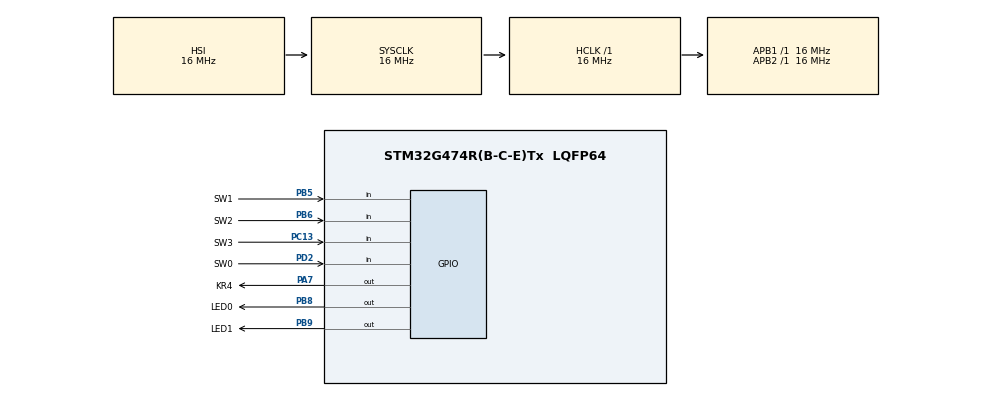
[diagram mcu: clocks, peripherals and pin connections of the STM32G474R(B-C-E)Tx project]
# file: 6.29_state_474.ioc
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Mcu.Family=STM32G4
Mcu.Name=STM32G474R(B-C-E)Tx
Mcu.Package=LQFP64
NVIC.PriorityGroup=NVIC_PRIORITYGROUP_4
PA7.GPIO_Label=KR4
PA7.Signal=GPIO_Output
PB5.GPIO_Label=SW1
PB5.Signal=GPIO_Input
PB6.GPIO_Label=SW2
PB6.Signal=GPIO_Input
PB8-BOOT0.GPIO_Label=LED0
PB8-BOOT0.Signal=GPIO_Output
PB9.GPIO_Label=LED1
PB9.Signal=GPIO_Output
PC13.GPIO_Label=SW3
PC13.Signal=GPIO_Input
PD2.GPIO_Label=SW0
PD2.GPIO_PuPd=GPIO_PULLDOWN
PD2.Signal=GPIO_Input
ProjectManager.HeapSize=0x200
ProjectManager.StackSize=0x400
ProjectManager.TargetToolchain=STM32CubeIDE
RCC.AHBFreq_Value=16000000
RCC.APB1Freq_Value=16000000
RCC.APB1TimFreq_Value=16000000
RCC.APB2Freq_Value=16000000
RCC.APB2TimFreq_Value=16000000
RCC.CortexFreq_Value=16000000
RCC.EXTERNAL_CLOCK_VALUE=12288000
RCC.HCLKFreq_Value=16000000
RCC.HSE_VALUE=8000000
RCC.HSI48_VALUE=48000000
RCC.HSI_VALUE=16000000
RCC.LSE_VALUE=32768
RCC.SYSCLKFreq_VALUE=16000000
RCC.USBFreq_Value=64000000
RCC.VCOOutputFreq_Value=128000000
board=custom

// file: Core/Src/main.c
/* USER CODE BEGIN Header */
/**
  ******************************************************************************
  * @file           : main.c
  * @brief          : Main program body
  ******************************************************************************
  * @attention
  *
  * Copyright (c) 2024 STMicroelectronics.
  * All rights reserved.
  *
  * This software is licensed under terms that can be found in the LICENSE file
  * in the root directory of this software component.
  * If no LICENSE file comes with this software, it is provided AS-IS.
  *
  ******************************************************************************
  */
/* USER CODE END Header */
#include "main.h"

void SystemClock_Config(void);
static void MX_GPIO_Init(void);

/* USER CODE BEGIN 0 */
void (*short_callback)();
void (*long_callback)();
void (*double_callback)();
void register_short_callback(void (*cb)){short_callback = cb;}
void register_long_callback(void (*cb)){long_callback = cb;}
void register_double_callback(void (*cb)){double_callback = cb;}

void set_LED1()
{
	HAL_GPIO_TogglePin(LED1_GPIO_Port, LED1_Pin);
}
void set_LED0()
{
	HAL_GPIO_TogglePin(LED0_GPIO_Port, LED0_Pin);
}
void set_LED()
{
	HAL_GPIO_TogglePin(LED0_GPIO_Port, LED0_Pin);
	HAL_GPIO_TogglePin(LED1_GPIO_Port, LED1_Pin);
}

void bottoncheck()
{
  static int prev_1 = 0;
  static int state_1 = 0;
  static int prev_2 = 0;
  static int state_2 = 0;
  static int flag = 0;
  static int long_counter = 0;
  static int double_counter = 0;

  int curr_1 = HAL_GPIO_ReadPin(SW1_GPIO_Port, SW1_Pin);
  int curr_2 = HAL_GPIO_ReadPin(SW2_GPIO_Port, SW2_Pin);

  switch (state_1)
  {
  case 0:
	  if(!prev_1 && curr_1)
	  {
		  state_1 = 1;
		  long_counter = 0;
	  }
	  break;

  case 1:
	  if(prev_1 && !curr_1)
	  {
		  state_1 = 0;
		  if(short_callback)
			short_callback();
	  }
	  long_counter ++;
	  if(long_counter == 1000)
	  {
		  state_1 = 0;
		  if(long_callback)
			  long_callback();
	  }
	  break;
  }
  prev_1 = curr_1;

  switch(state_2)
  {
  case 0:
	  if(!prev_2 && curr_2)
	  {
		  state_2 = 1;
	  }
	  if(flag == 1)
	  {
		  if(short_callback)
			  short_callback();
		  flag = 0;
	  }
	  if(flag == 2)
	  {
		  if(double_callback)
			  double_callback();
		  flag = 0;
	  }
	  break;

  case 1:
	  if(prev_2 && !curr_2)
	  {
		  if(flag == 2) state_2 = 0;
		  else state_2 = 2;
	  }
	  break;

  case 2:
	  if(!prev_2 && curr_2)
	  {
		  state_2 = 1;
		  flag = 2;
		  double_counter = 0;
	  }
	  if(double_counter > 600)
	  {
		  state_2 = 0;
		  flag = 1;
		  double_counter = 0;
	  }
	  double_counter ++;
      break;
  }
  prev_2 = curr_2;
}
/* USER CODE END 0 */

int main(void)
{

  /* MCU Configuration--------------------------------------------------------*/

  /* Reset of all peripherals, Initializes the Flash interface and the Systick. */
  HAL_Init();

  /* Configure the system clock */
  SystemClock_Config();

  /* Initialize all configured peripherals */
  MX_GPIO_Init();
  /* USER CODE BEGIN 2 */
  HAL_GPIO_WritePin(KR4_GPIO_Port,KR4_Pin,GPIO_PIN_SET);
  register_short_callback(set_LED0);
  register_long_callback(set_LED1);
  register_double_callback(set_LED);
  /* USER CODE END 2 */

  /* Infinite loop */
  while (1)
  {

  }
}

void SystemClock_Config(void)
{
  RCC_OscInitTypeDef RCC_OscInitStruct = {0};
  RCC_ClkInitTypeDef RCC_ClkInitStruct = {0};

  /** Configure the main internal regulator output voltage
  */
  HAL_PWREx_ControlVoltageScaling(PWR_REGULATOR_VOLTAGE_SCALE1);

  /** Initializes the RCC Oscillators according to the specified parameters
  * in the RCC_OscInitTypeDef structure.
  */
  RCC_OscInitStruct.OscillatorType = RCC_OSCILLATORTYPE_HSI;
  RCC_OscInitStruct.HSIState = RCC_HSI_ON;
  RCC_OscInitStruct.HSICalibrationValue = RCC_HSICALIBRATION_DEFAULT;
  RCC_OscInitStruct.PLL.PLLState = RCC_PLL_NONE;
  if (HAL_RCC_OscConfig(&RCC_OscInitStruct) != HAL_OK)
  {
    Error_Handler();
  }

  /** Initializes the CPU, AHB and APB buses clocks
  */
  RCC_ClkInitStruct.ClockType = RCC_CLOCKTYPE_HCLK|RCC_CLOCKTYPE_SYSCLK
                              |RCC_CLOCKTYPE_PCLK1|RCC_CLOCKTYPE_PCLK2;
  RCC_ClkInitStruct.SYSCLKSource = RCC_SYSCLKSOURCE_HSI;
  RCC_ClkInitStruct.AHBCLKDivider = RCC_SYSCLK_DIV1;
  RCC_ClkInitStruct.APB1CLKDivider = RCC_HCLK_DIV1;
  RCC_ClkInitStruct.APB2CLKDivider = RCC_HCLK_DIV1;

  if (HAL_RCC_ClockConfig(&RCC_ClkInitStruct, FLASH_LATENCY_0) != HAL_OK)
  {
    Error_Handler();
  }
}

static void MX_GPIO_Init(void)
{
  GPIO_InitTypeDef GPIO_InitStruct = {0};

  /* GPIO Ports Clock Enable */
  __HAL_RCC_GPIOC_CLK_ENABLE();
  __HAL_RCC_GPIOA_CLK_ENABLE();
  __HAL_RCC_GPIOD_CLK_ENABLE();
  __HAL_RCC_GPIOB_CLK_ENABLE();

  /*Configure GPIO pin Output Level */
  HAL_GPIO_WritePin(KR4_GPIO_Port, KR4_Pin, GPIO_PIN_RESET);

  /*Configure GPIO pin Output Level */
  HAL_GPIO_WritePin(GPIOB, LED0_Pin|LED1_Pin, GPIO_PIN_RESET);

  /*Configure GPIO pin : SW3_Pin */
  GPIO_InitStruct.Pin = SW3_Pin;
  GPIO_InitStruct.Mode = GPIO_MODE_INPUT;
  GPIO_InitStruct.Pull = GPIO_NOPULL;
  HAL_GPIO_Init(SW3_GPIO_Port, &GPIO_InitStruct);

  /*Configure GPIO pin : KR4_Pin */
  GPIO_InitStruct.Pin = KR4_Pin;
  GPIO_InitStruct.Mode = GPIO_MODE_OUTPUT_PP;
  GPIO_InitStruct.Pull = GPIO_NOPULL;
  GPIO_InitStruct.Speed = GPIO_SPEED_FREQ_LOW;
  HAL_GPIO_Init(KR4_GPIO_Port, &GPIO_InitStruct);

  /*Configure GPIO pin : SW0_Pin */
  GPIO_InitStruct.Pin = SW0_Pin;
  GPIO_InitStruct.Mode = GPIO_MODE_INPUT;
  GPIO_InitStruct.Pull = GPIO_PULLDOWN;
  HAL_GPIO_Init(SW0_GPIO_Port, &GPIO_InitStruct);

  /*Configure GPIO pins : SW1_Pin SW2_Pin */
  GPIO_InitStruct.Pin = SW1_Pin|SW2_Pin;
  GPIO_InitStruct.Mode = GPIO_MODE_INPUT;
  GPIO_InitStruct.Pull = GPIO_NOPULL;
  HAL_GPIO_Init(GPIOB, &GPIO_InitStruct);

  /*Configure GPIO pins : LED0_Pin LED1_Pin */
  GPIO_InitStruct.Pin = LED0_Pin|LED1_Pin;
  GPIO_InitStruct.Mode = GPIO_MODE_OUTPUT_PP;
  GPIO_InitStruct.Pull = GPIO_NOPULL;
  GPIO_InitStruct.Speed = GPIO_SPEED_FREQ_LOW;
  HAL_GPIO_Init(GPIOB, &GPIO_InitStruct);

}

void Error_Handler(void)
{
  __disable_irq();
  while (1)
  {
  }
}
